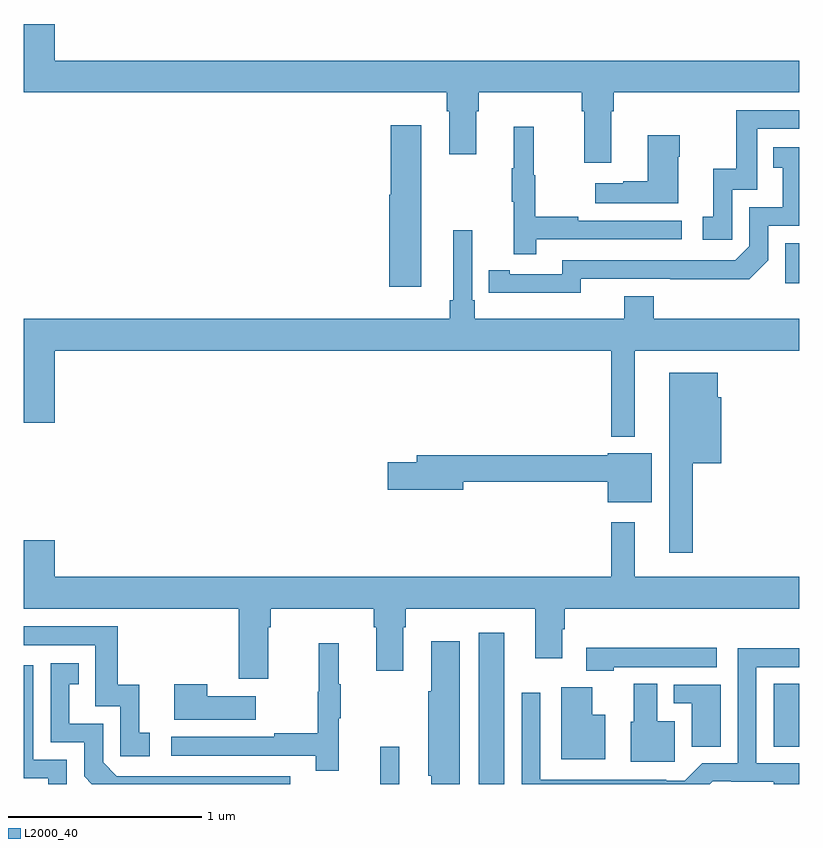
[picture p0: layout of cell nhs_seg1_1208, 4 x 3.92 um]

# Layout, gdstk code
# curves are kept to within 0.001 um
import gdstk
lib = gdstk.Library(unit=1e-6, precision=1e-09)
def R(c, l, rs):  # rectangles x0, y0, x1, y1
    for r in rs: c.add(gdstk.rectangle(r[:2], r[2:], *l))
def P(c, l, *ps):  # polygons
    for p in ps: c.add(gdstk.Polygon(p, *l))
L2000_40 = (2000, 40)

nhs_seg1_1208 = lib.new_cell('nhs_seg1_1208')
R(nhs_seg1_1208, L2000_40, [(178.839,512.199,178.936,512.392), (179.348,512.199,179.479,512.98), (180.869,512.392,181,512.717), (180.93,514.782,181,514.989)])
P(nhs_seg1_1208, L2000_40, [(180.031,515.672),(180.044,515.672),(180.044,515.768),(181,515.768),(181,515.932),(177.16,515.932),(177.16,516.121),(177,516.121),(177,515.768),(179.183,515.768),(179.183,515.672),(179.195,515.672),(179.195,515.448),(179.335,515.448),(179.335,515.672),(179.348,515.672),(179.348,515.768),(179.879,515.768),(179.879,515.672),(179.891,515.672),(179.891,515.406),(180.031,515.406)],
  [(180.654,515.265),(180.783,515.265),(180.783,515.58),(181,515.58),(181,515.676),(180.675,515.676),(180.675,515.374),(180.557,515.374),(180.557,515.127),(180.504,515.127),(180.504,515.007),(180.654,515.007)],
  [(179.05,515.599),(178.892,515.599),(178.892,515.241),(178.886,515.241),(178.886,514.764),(179.05,514.764)],
  [(179.645,515.01),(180.394,515.01),(180.394,515.106),(179.861,515.106),(179.861,515.126),(179.638,515.126),(179.638,515.34),(179.63,515.34),(179.63,515.59),(179.528,515.59),(179.528,515.377),(179.517,515.377),(179.517,515.203),(179.528,515.203),(179.528,514.932),(179.645,514.932)],
  [(180.376,515.435),(180.384,515.435),(180.384,515.548),(180.218,515.548),(180.218,515.309),(180.092,515.309),(180.092,515.299),(179.949,515.299),(179.949,515.195),(180.376,515.195)],
  [(179.874,514.806),(180.742,514.805),(180.84,514.902),(180.84,515.079),(181,515.079),(181,515.485),(180.868,515.485),(180.868,515.379),(180.917,515.379),(180.917,515.175),(180.744,515.175),(180.744,514.974),(180.672,514.902),(179.778,514.902),(179.778,514.83),(179.506,514.83),(179.506,514.85),(179.398,514.85),(179.398,514.734),(179.874,514.733)],
  [(180.151,514.436),(181,514.436),(181,514.6),(180.251,514.6),(180.251,514.717),(180.098,514.717),(180.098,514.6),(179.327,514.6),(179.327,514.696),(179.313,514.696),(179.313,515.056),(179.216,515.056),(179.216,514.696),(179.197,514.696),(179.197,514.6),(177,514.6),(177,514.062),(177.16,514.062),(177.16,514.436),(180.03,514.436),(180.03,513.992),(180.151,513.992)],
  [(180.451,513.854),(180.598,513.854),(180.598,514.194),(180.58,514.194),(180.58,514.321),(180.329,514.321),(180.329,513.393),(180.451,513.393)],
  [(180.241,513.907),(180.014,513.907),(180.014,513.896),(179.027,513.896),(179.027,513.86),(178.878,513.86),(178.878,513.718),(179.266,513.718),(179.266,513.76),(180.014,513.76),(180.014,513.653),(180.241,513.653)],
  [(178.261,513.008),(178.274,513.008),(178.274,513.104),(178.805,513.104),(178.805,513.008),(178.817,513.008),(178.817,512.784),(178.957,512.784),(178.957,513.008),(178.97,513.008),(178.97,513.104),(179.639,513.104),(179.639,512.847),(179.779,512.847),(179.779,512.998),(179.792,512.998),(179.792,513.104),(181,513.104),(181,513.268),(180.151,513.268),(180.151,513.55),(180.03,513.55),(180.03,513.268),(177.16,513.268),(177.16,513.457),(177,513.457),(177,513.104),(178.109,513.104),(178.109,512.742),(178.261,512.742)],
  [(177.649,512.463),(177.596,512.463),(177.596,512.71),(177.485,512.71),(177.485,513.012),(177,513.012),(177,512.916),(177.369,512.916),(177.369,512.601),(177.498,512.601),(177.498,512.343),(177.649,512.343)],
  [(179.248,512.935),(179.102,512.935),(179.102,512.677),(179.087,512.677),(179.087,512.241),(179.102,512.241),(179.102,512.199),(179.248,512.199)],
  [(178.625,512.539),(178.636,512.539),(178.636,512.713),(178.625,512.713),(178.625,512.926),(178.522,512.926),(178.522,512.676),(178.515,512.676),(178.515,512.462),(178.291,512.462),(178.291,512.442),(177.759,512.442),(177.759,512.346),(178.507,512.346),(178.507,512.268),(178.625,512.268)],
  [(180.045,512.801),(180.574,512.801),(180.574,512.902),(179.901,512.902),(179.901,512.783),(180.045,512.783)],
  [(180.555,512.214),(180.649,512.214),(180.649,512.211),(180.869,512.211),(180.869,512.199),(181,512.199),(181,512.307),(180.78,512.307),(180.78,512.802),(181,512.802),(181,512.9),(180.684,512.9),(180.684,512.307),(180.5,512.307),(180.41,512.217),(180.314,512.217),(180.314,512.22),(179.664,512.22),(179.664,512.671),(179.568,512.671),(179.568,512.199),(180.54,512.199)],
  [(178.374,512.238),(177.48,512.238),(177.408,512.31),(177.408,512.511),(177.235,512.511),(177.235,512.715),(177.284,512.715),(177.284,512.821),(177.138,512.821),(177.138,512.415),(177.312,512.415),(177.312,512.238),(177.351,512.199),(178.374,512.199)],
  [(177.222,512.325),(177.048,512.325),(177.048,512.811),(177,512.811),(177,512.229),(177.125,512.229),(177.125,512.199),(177.222,512.199)],
  [(180.358,512.524),(180.268,512.524),(180.268,512.716),(180.146,512.716),(180.146,512.52),(180.131,512.52),(180.131,512.315),(180.358,512.315)],
  [(178.195,512.653),(177.947,512.653),(177.947,512.713),(177.776,512.713),(177.776,512.531),(178.195,512.531)],
  [(180.595,512.712),(180.353,512.712),(180.353,512.616),(180.446,512.616),(180.446,512.392),(180.595,512.392)],
  [(180.001,512.557),(179.932,512.557),(179.932,512.698),(179.774,512.698),(179.774,512.327),(180.001,512.327)])

lib.write_gds('nhs_seg1_1208.gds')
